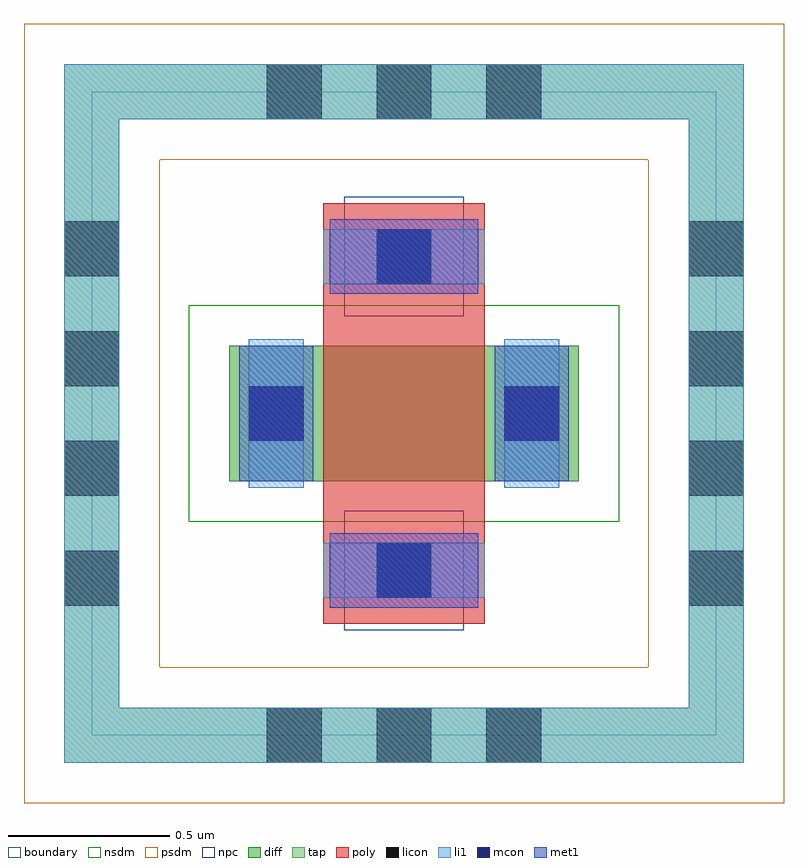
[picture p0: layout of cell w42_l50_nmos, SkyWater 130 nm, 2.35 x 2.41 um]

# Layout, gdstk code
import gdstk
lib = gdstk.Library(unit=1e-6, precision=1e-09)
def R(c, l, rs):  # rectangles x0, y0, x1, y1
    for r in rs: c.add(gdstk.rectangle(r[:2], r[2:], *l))
def A(c, l, x, y, w, h, nx, ny, dx, dy):  # array of equal rectangles
    R(c, l, [(x+i*dx, y+j*dy, x+i*dx+w, y+j*dy+h) for i in range(nx) for j in range(ny)])
diff = (65, 20)
tap = (65, 44)
poly = (66, 20)
licon = (66, 44)
li1 = (67, 20)
mcon = (67, 44)
met1 = (68, 20)
nsdm = (93, 44)
psdm = (94, 20)
npc = (95, 20)
boundary = (235, 4)

sky130_fd_pr__nfet_01v8 = lib.new_cell('sky130_fd_pr__nfet_01v8')

w42_l50_nmos = lib.new_cell('w42_l50_nmos')
R(w42_l50_nmos, diff, [(-0.54,-0.21,0.54,0.21)])
R(w42_l50_nmos, tap, [(-1.05,-1.08,1.05,-0.91), (-1.05,-0.91,-0.88,0.91), (0.88,-0.91,1.05,0.91), (-1.05,0.91,1.05,1.08)])
R(w42_l50_nmos, poly, [(-0.25,-0.65,0.25,0.65)])
A(w42_l50_nmos, licon, -0.425, -1.08, 0.17, 0.17, 3, 2, 0.34, 1.99)
A(w42_l50_nmos, licon, -1.05, -0.595, 0.17, 0.17, 1, 4, 0, 0.34)
A(w42_l50_nmos, licon, 0.88, -0.595, 0.17, 0.17, 1, 4, 0, 0.34)
R(w42_l50_nmos, licon, [(-0.085,-0.57,0.085,-0.4), (-0.48,-0.085,-0.31,0.085), (0.31,-0.085,0.48,0.085), (-0.085,0.4,0.085,0.57)])
R(w42_l50_nmos, li1, [(-1.05,-1.08,1.05,-0.91), (-1.05,-0.91,-0.88,0.91), (0.88,-0.91,1.05,0.91), (-0.25,-0.57,0.25,-0.4), (-0.48,-0.23,-0.31,0.23), (0.31,-0.23,0.48,0.23), (-0.25,0.4,0.25,0.57), (-1.05,0.91,1.05,1.08)])
R(w42_l50_nmos, mcon, [(-0.085,-0.57,0.085,-0.4), (-0.48,-0.085,-0.31,0.085), (0.31,-0.085,0.48,0.085), (-0.085,0.4,0.085,0.57)])
R(w42_l50_nmos, met1, [(-0.23,-0.6,0.23,-0.37), (-0.51,-0.21,-0.28,0.21), (0.28,-0.21,0.51,0.21), (-0.23,0.37,0.23,0.6)])
R(w42_l50_nmos, nsdm, [(-0.665,-0.335,0.665,0.335)])
R(w42_l50_nmos, psdm, [(-1.175,-1.205,1.175,-0.785), (-1.175,-0.785,-0.755,0.785), (0.755,-0.785,1.175,0.785), (-1.175,0.785,1.175,1.205)])
R(w42_l50_nmos, npc, [(-0.185,-0.67,0.185,-0.3), (-0.185,0.3,0.185,0.67)])
R(w42_l50_nmos, boundary, [(-0.965,-0.995,0.965,0.995)])
w42_l50_nmos.add(gdstk.Reference(sky130_fd_pr__nfet_01v8, (0,0)))

lib.write_gds('w42_l50_nmos.gds')
